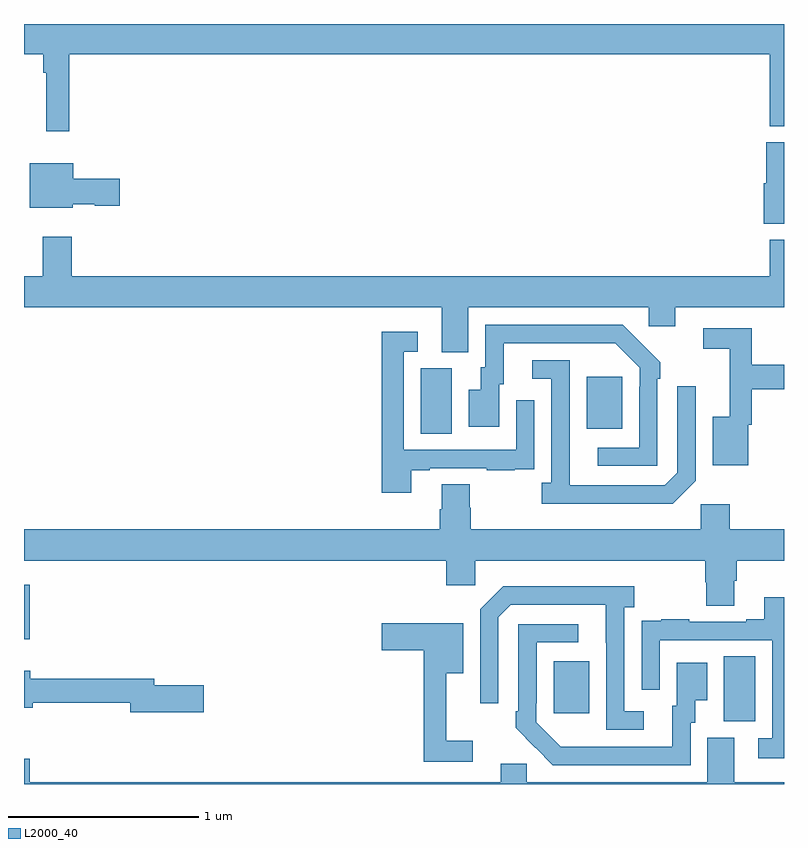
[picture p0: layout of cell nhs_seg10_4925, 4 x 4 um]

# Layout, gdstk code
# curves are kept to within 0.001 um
import gdstk
lib = gdstk.Library(unit=1e-6, precision=1e-09)
def R(c, l, rs):  # rectangles x0, y0, x1, y1
    for r in rs: c.add(gdstk.rectangle(r[:2], r[2:], *l))
def P(c, l, *ps):  # polygons
    for p in ps: c.add(gdstk.Polygon(p, *l))
L2000_40 = (2000, 40)

nhs_seg10_4925 = lib.new_cell('nhs_seg10_4925')
R(nhs_seg10_4925, L2000_40, [(398.684,1272.829,398.848,1273.172), (397.787,1272.873,397.975,1273.147), (395,1273.262,395.03,1273.549), (397.088,1274.344,397.252,1274.688), (397.961,1274.369,398.149,1274.644)])
P(nhs_seg10_4925, L2000_40, [(395.237,1276.34),(398.924,1276.34),(398.924,1275.962),(399,1275.962),(399,1276.5),(395,1276.5),(395,1276.34),(395.101,1276.34),(395.101,1276.244),(395.116,1276.244),(395.116,1275.936),(395.237,1275.936)],
  [(399,1275.877),(398.906,1275.877),(398.906,1275.663),(398.894,1275.663),(398.894,1275.449),(399,1275.449)],
  [(395.256,1275.551),(395.373,1275.551),(395.373,1275.544),(395.503,1275.544),(395.503,1275.686),(395.26,1275.686),(395.26,1275.766),(395.03,1275.766),(395.03,1275.533),(395.256,1275.533)],
  [(397.339,1275.008),(398.289,1275.008),(398.289,1274.91),(398.428,1274.91),(398.428,1275.008),(399,1275.008),(399,1275.364),(398.924,1275.364),(398.924,1275.172),(395.252,1275.172),(395.252,1275.379),(395.099,1275.379),(395.099,1275.172),(395,1275.172),(395,1275.008),(397.199,1275.008),(397.199,1274.773),(397.339,1274.773)],
  [(398.334,1274.633),(398.349,1274.633),(398.349,1274.721),(398.152,1274.916),(397.428,1274.916),(397.428,1274.694),(397.403,1274.694),(397.403,1274.575),(397.34,1274.575),(397.34,1274.379),(397.501,1274.379),(397.501,1274.604),(397.525,1274.604),(397.525,1274.82),(398.113,1274.82),(398.241,1274.691),(398.241,1274.591),(398.238,1274.591),(398.238,1274.271),(398.019,1274.271),(398.019,1274.175),(398.334,1274.175)],
  [(398.812,1274.391),(398.831,1274.391),(398.831,1274.578),(399,1274.578),(399,1274.707),(398.831,1274.707),(398.831,1274.898),(398.574,1274.898),(398.574,1274.79),(398.714,1274.79),(398.714,1274.434),(398.624,1274.434),(398.624,1274.177),(398.812,1274.177)],
  [(397.039,1274.151),(397.135,1274.151),(397.135,1274.163),(397.435,1274.163),(397.435,1274.151),(397.583,1274.151),(397.583,1274.157),(397.685,1274.157),(397.685,1274.266),(397.686,1274.266),(397.686,1274.521),(397.59,1274.521),(397.59,1274.259),(396.999,1274.259),(396.999,1274.775),(397.072,1274.775),(397.072,1274.881),(396.883,1274.881),(396.883,1274.034),(397.039,1274.034)],
  [(398.535,1274.097),(398.535,1274.593),(398.439,1274.593),(398.439,1274.139),(398.373,1274.073),(397.873,1274.073),(397.872,1274.73),(397.674,1274.73),(397.674,1274.634),(397.776,1274.634),(397.776,1274.086),(397.725,1274.086),(397.725,1273.976),(398.414,1273.976)],
  [(398.737,1273.57),(398.75,1273.57),(398.75,1273.676),(399,1273.676),(399,1273.84),(398.714,1273.84),(398.714,1273.972),(398.562,1273.972),(398.562,1273.84),(397.352,1273.84),(397.352,1273.953),(397.347,1273.953),(397.347,1274.078),(397.199,1274.078),(397.199,1273.946),(397.187,1273.946),(397.187,1273.84),(395,1273.84),(395,1273.676),(397.223,1273.676),(397.223,1273.545),(397.374,1273.545),(397.374,1273.676),(398.585,1273.676),(398.585,1273.563),(398.59,1273.563),(398.59,1273.438),(398.737,1273.438)],
  [(398.263,1272.882),(398.16,1272.882),(398.16,1273.43),(398.212,1273.43),(398.212,1273.54),(397.522,1273.54),(397.401,1273.419),(397.401,1272.924),(397.497,1272.924),(397.497,1273.377),(397.563,1273.443),(398.063,1273.443),(398.064,1272.786),(398.263,1272.786)],
  [(399,1273.483),(398.897,1273.483),(398.897,1273.366),(398.801,1273.366),(398.801,1273.353),(398.501,1273.353),(398.501,1273.366),(398.353,1273.366),(398.353,1273.359),(398.251,1273.359),(398.251,1273.25),(398.25,1273.25),(398.25,1272.996),(398.346,1272.996),(398.346,1273.257),(398.937,1273.257),(398.937,1272.741),(398.865,1272.741),(398.865,1272.636),(399,1272.636)],
  [(397.363,1272.727),(397.223,1272.727),(397.223,1273.082),(397.312,1273.082),(397.312,1273.347),(396.882,1273.347),(396.882,1273.205),(397.105,1273.205),(397.105,1272.618),(397.363,1272.618)],
  [(398.508,1272.822),(398.533,1272.822),(398.533,1272.941),(398.596,1272.941),(398.596,1273.138),(398.435,1273.138),(398.435,1272.912),(398.411,1272.912),(398.411,1272.696),(397.824,1272.697),(397.695,1272.825),(397.695,1272.925),(397.698,1272.925),(397.698,1273.245),(397.918,1273.245),(397.918,1273.341),(397.602,1273.341),(397.602,1272.883),(397.587,1272.883),(397.587,1272.795),(397.784,1272.6),(398.508,1272.6)],
  [(395.947,1273.019),(395.686,1273.019),(395.686,1273.055),(395.032,1273.055),(395.032,1273.096),(395,1273.096),(395,1272.902),(395.045,1272.902),(395.045,1272.927),(395.558,1272.927),(395.558,1272.877),(395.947,1272.877)],
  [(399,1272.508),(398.737,1272.508),(398.737,1272.744),(398.597,1272.744),(398.597,1272.508),(397.647,1272.508),(397.647,1272.606),(397.508,1272.606),(397.508,1272.508),(395.03,1272.508),(395.03,1272.632),(395,1272.632),(395,1272.5),(399,1272.5)])

lib.write_gds('nhs_seg10_4925.gds')
